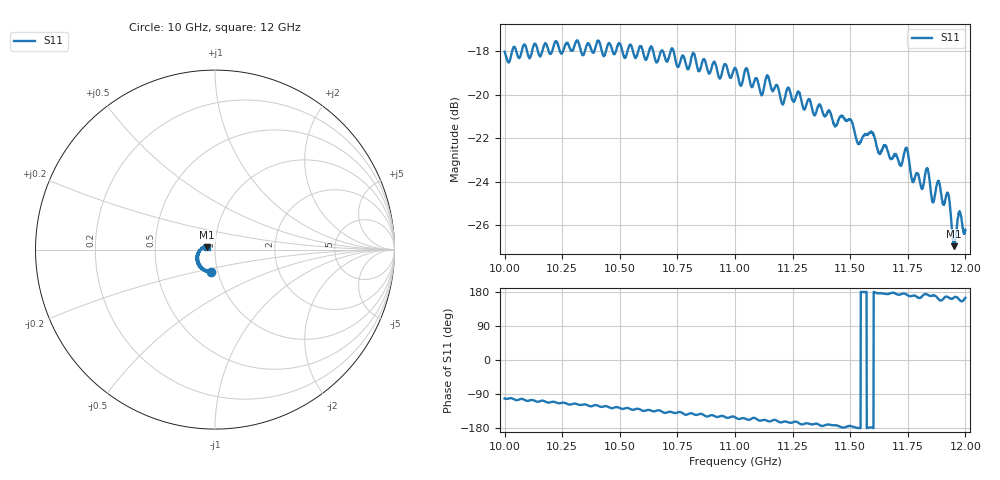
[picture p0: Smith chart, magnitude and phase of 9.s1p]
[Version] 2.0
! Rohde & Schwarz Vector Network Analyzer
! Rohde-Schwarz,ZNL20-2Port,1323001220200009,1.71.1.10-23.02.1.238
! Port Assignments:
! Nominal Port -> Actual Test Port
!  1 -> 1
! Created: GMT 2024-09-04 10:33:53
# Hz S DB R 50
[Number of Ports] 1
! freq[Hz]  S11[mag dB]  S11[ang]
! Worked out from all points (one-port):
!   2001 points, 10 GHz to 12 GHz, reference 50 ohm
!   lowest |S11| = -27.0 dB at 11.95 GHz (marker M1), VSWR 1.09, Z = 45.8 + j1.09 ohm
!   |S11| at or under -10 dB: start of sweep to end of sweep
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[Number of Frequencies] 28
[Network Data]
1e10  -18.02 -101.5
1.025e10  -18.06 -112.8
1.05e10  -17.64 -126.7
1.066e10  -18.51 -133.7
1.0728e10  -17.88 -138.2
1.075e10  -18.71 -138.7
1.0819e10  -18.08 -142.6
1.0843e10  -18.91 -143.3
1.1e10  -18.75 -150.9
1.1024e10  -19.55 -155.0
1.105e10  -18.77 -156.4
1.1114e10  -20.01 -159.8
1.1141e10  -19.12 -160.6
1.125e10  -20.25 -164.6
1.15e10  -21.13 -174.0
1.1536e10  -22.27 -179.6
1.159e10  -21.69 -178.1
1.1627e10  -22.70 175.8
1.175e10  -22.61 170.6
1.1771e10  -23.99 169.6
1.1812e10  -24.33 167.7
1.1834e10  -23.42 172.8
1.1859e10  -24.94 170.3
1.1881e10  -23.97 162.3
1.1923e10  -24.53 166.3
1.195e10  -26.95 164.6
1.1974e10  -25.36 158.8
1.2e10  -26.20 164.0
[End]
